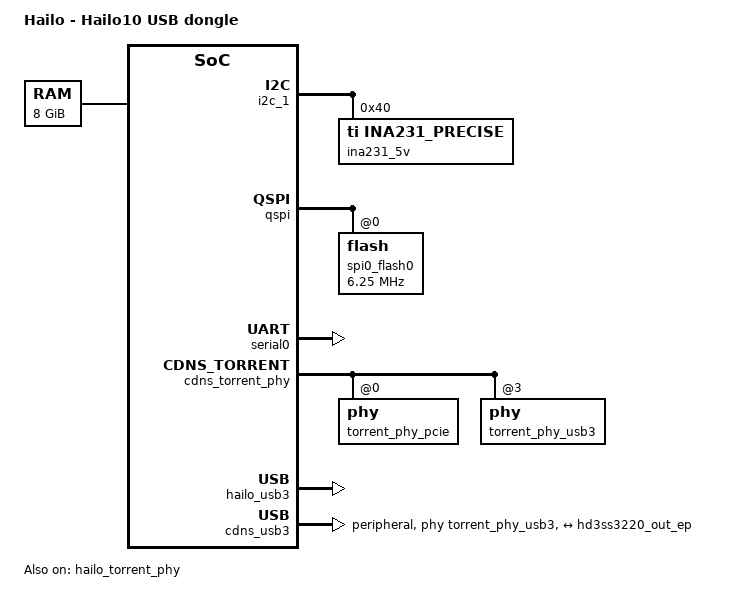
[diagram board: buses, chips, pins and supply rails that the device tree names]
// SPDX-License-Identifier:     GPL-2.0
/*
* Copyright (c) 2019-2025 Hailo Technologies Ltd. All rights reserved.
*/

/dts-v1/;
#include "hailo10-base.dtsi"
#include "hailo10-8gb-cma-config.dtsi"
#include <dt-bindings/gpio/gpio.h>
#include <dt-bindings/usb/pd.h>

/ {
    model = "Hailo - Hailo10 USB dongle";

    memory {
        device_type = "memory";
        reg = <0x00000000 0x80000000 0x00000002 0x00000000>;
    };

    chosen {
        bootargs = "console=ttyS1,115200n8 quiet loglevel=3 rootwait wait_initrd_image root=/dev/ram0 ramdisk_size=0x10000000";
        linux,initrd-start = <0x90000000>;
        linux,initrd-end = <0xA0000000>;
    };

    /* USB-C connector as separate node - Device-only dongle (disabled) */
    usb_c_connector: connector {
        status = "disabled";  /* Disable without removing from device tree */
        compatible = "usb-c-connector";
        label = "USB-C";
        data-role = "device";  /* Always act as USB device */
        power-role = "sink";   /* Always sink power from host */

        /* USB-C Power Delivery properties for device mode: 5V, 3A */
        sink-pdos = <PDO_FIXED(5000, 3000, PDO_FIXED_USB_COMM)
                     PDO_VAR(5000, 20000, 3000)>;
        op-sink-microwatt = <15000000>;  /* 15W max consumption */

        ports {
            #address-cells = <1>;
            #size-cells = <0>;
            port@0 {
                reg = <0>;
                usb_c_connector_ss_ep: endpoint {
                    remote-endpoint = <&hd3ss3220_in_ep>;
                };
            };
        };
    };
};

&i2c_1 {
    status = "ok";
    i2c-sda-falling-time-ns = <1000>;

    ina231_5v: 5v@40 {
        compatible = "ti,ina231_precise";
        reg = <0x40>;
        shunt-resistor = <10000>; // shunt_uohms
        max-current = <30000>; // max_current_mA
    };

    regulator_0p8v: regulator-0p8v@43 {
        status = "disabled";
        compatible = "ti,tps62872";
        reg = <0x43>;
        regulator-name = "+0.8V";
        regulator-min-microvolt = <400000>;
        regulator-max-microvolt = <1037500>;
        regulator-initial-mode = <2>;
    };

    /* 64 KiB EEPROM  */
    eeprom: eeprom-atmel-24c64@50 {
        status = "disabled";
        compatible = "atmel,24c64";
        reg = <0x50>;
    };

    hd3ss3220@47 {
        status = "disabled";
        compatible = "ti,hd3ss3220";
        reg = <0x47>;
        /* No interrupt connected - will use polling for cable detection */

        ports {
            status = "disabled";
            #address-cells = <1>;
            #size-cells = <0>;
            port@0 {
                reg = <0>;
                hd3ss3220_in_ep: endpoint {
                    remote-endpoint = <&usb_c_connector_ss_ep>;
                };
            };
            port@1 {
                reg = <1>;
                hd3ss3220_out_ep: endpoint {
                    remote-endpoint = <&cdns_usb3_connector_switch>;
                };
            };
        };
    };
};

&qspi {
    status = "ok";

    spi0_flash0: flash@0 {
        /* values for MT25QU01G */
        spi-max-frequency = <6250000>; /* 90Mhz in DTR, 166Mhz in STR */
        cdns,read-delay = <7>;
        cdns,tshsl-ns = <30>;
        cdns,tsd2d-ns = <30>;
        cdns,tchsh-ns = <5>;
        cdns,tslch-ns = <3>;
    };
};

&serial0 {
    status = "ok";
};

#define GPIO_LINE_NAMES \
    "gpio_in_out_0",            "gpio_in_out_1",            "gpio_in_out_2",            "gpio_in_out_3", \
    "gpio_in_out_4",            "boot_ROM",                 "gpio_in_out_6",            "gpio_in_out_7", \
    "gpio_in_out_8",            "gpio_in_out_9",            "gpio_in_out_10",           "gpio_in_out_8", \
    "gpio_in_out_12",           "gpio_in_out_13",           "gpio_in_out_14",           "gpio_in_out_15", \
    \
    "sku_id_en",                "gpio_in_out_17",           "gpio_in_out_18",           "gpio_in_out_19", \
    "gpio_in_out_20",           "gpio_in_out_21",           "fan_control",              "gpio_in_out_23", \
    "gpio_in_out_24",           "sku_id_3",                 "sku_id_4",                 "sku_id_5", \
    "gpio_in_out_28",           "gpio_in_out_29",           "gpio_in_out_30",           "gpio_in_out_31"

&gpio0 {
    gpio-ranges = <&pinctrl 0 0 16>;

    gpio-line-names = GPIO_LINE_NAMES;
};

&gpio1 {
    gpio-ranges = <&pinctrl 0 16 16>;

    gpio-line-names = GPIO_LINE_NAMES;
};

&hailo_torrent_phy {
    status = "okay";
    usb-lane = <3>;
    usb-lane-pma-pll-full-rate-divider = <PCI_PMA_PLL_FULL_RATE_CLK_DIVIDER_4>;
    lanes-config = <PCI_PHY_LINK_LANES_CFG__2x1_PLUS_1x2__MASTER_LANES_LN0_LN2_LN3>;
};

&cdns_torrent_phy {
    torrent_phy_pcie: phy@0 {
        reg = <0>;
        resets = <&scmi_reset HAILO15_SCMI_RESET_IDX_PCIE_PHY_LANE_0>, <&scmi_reset HAILO15_SCMI_RESET_IDX_PCIE_PHY_LANE_1>;
        #phy-cells = <0>;
        cdns,phy-type = <PHY_TYPE_PCIE>;
        cdns,num-lanes = <2>;
    };
    torrent_phy_usb3: phy@3 {
        reg = <3>;
        resets = <&scmi_reset HAILO15_SCMI_RESET_IDX_PCIE_PHY_LANE_3>;
        #phy-cells = <0>;
        cdns,phy-type = <PHY_TYPE_USB3>;
        cdns,num-lanes = <1>;
        cdns,ssc-mode = <TORRENT_SERDES_NO_SSC>;
    };
};

&hailo_usb3 {
    no-usb2-phy-avdd-core-power; // Indicate that AVDD core power is not connected to USB2 PHY 
    status = "okay";
};

&cdns_usb3 {
    dr_mode = "peripheral"; // Force USB controller to always be in device mode
    phys = <&torrent_phy_usb3>;
    phy-names = "cdns3,usb3-phy";
    maximum-speed = "super-speed"; // known HW bug - MER-3829, not reaching super-speed-plus. Fixed in H15L.
    
    ports {
        status = "disabled";
        #address-cells = <1>;
        #size-cells = <0>;
        port@0 {
            reg = <0>;
            cdns_usb3_connector_switch: endpoint {
                remote-endpoint = <&hd3ss3220_out_ep>;
            };
        };
    };
};
